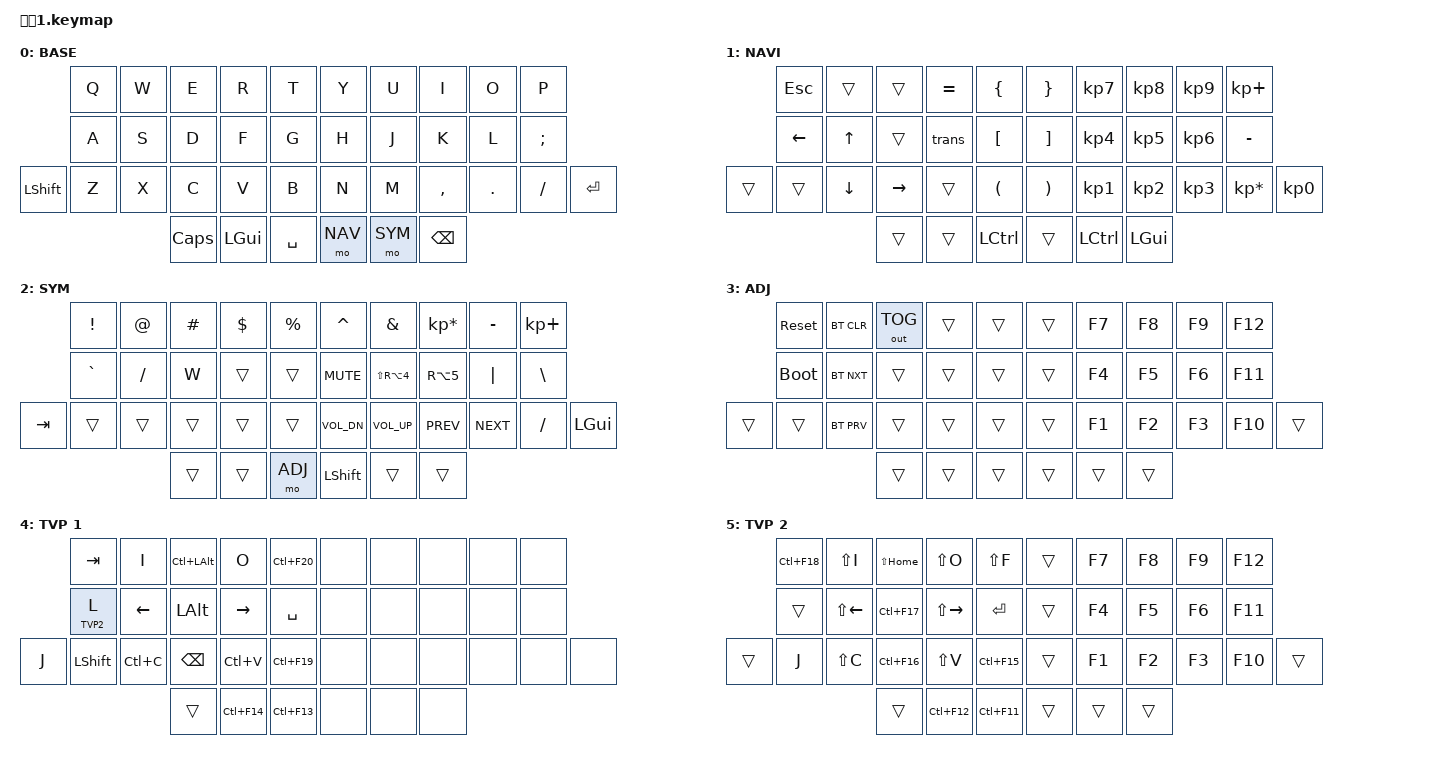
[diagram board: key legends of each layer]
//
//                                                        ▀▀▀▀▀     ▀▀▀▀▀          ▀▀█▀▀
//                                                        ▄▀▀▀▄  ▄  ▄▀▀▀▄  ▄  ▄▀▀▀▄  █  ▄▀▀▀▄
//                                                        █   █  █  █   █  █  █   █  █  █   █
//                                                         ▀▀▀   █   ▀▀▀   █   ▀▀▀   ▀   ▀▀▀
//                                                               █      ▄▄▄█▄▄▄    █   █  
//                                                               ▀      █  █  █     █▄█
//                                                             ▀▀▀▀▀    █  █  █      ▀
//                                                                      ▀  ▀  ▀
//
// ▄▄▄▄▄▄▄▄▄▄▄▄▄▄▄▄▄▄▄▄▄▄▄▄▄▄▄▄▄▄▄▄▄▄▄▄▄▄▄▄▄▄▄▄▄▄▄▄▄▄▄▄▄▄▄▄▄▄▄▄▄▄▄▄▄▄▄▄▄▄▄▄▄▄▄▄▄▄▄▄▄▄▄▄▄▄▄▄▄▄▄▄▄▄▄▄▄▄▄▄▄▄▄▄▄▄▄▄▄▄▄▄▄▄▄▄▄▄▄▄▄▄▄▄▄▄▄▄▄▄▄▄▄▄▄▄▄▄▄▄▄▄▄▄▄▄▄▄▄
       

#include <behaviors.dtsi>
#include <dt-bindings/zmk/keys.h>
#include <dt-bindings/zmk/bt.h>
#include <dt-bindings/zmk/outputs.h>

#define BASE 0
#define NAV  1
#define SYM  2
#define ADJ  3
#define TVP1 4
#define TVP2 5

&mt {
  quick-tap-ms = <100>;
  global-quick-tap;
  flavor = "tap-preferred";
  tapping-term-ms = <170>;
};

/ {
     combos {
            compatible = "zmk,combos";
            combo_esc {
                timeout-ms = <50>;
                key-positions = <0 1>;
                bindings = <&kp ESC>;
            };
            combo_tvp {
                timeout-ms = <100>;
                key-positions = <11 12 13>;
                bindings = <&tog TVP1>;
            };
    };

    macros {
        gif: gif {
            label = "giphy";
            compatible = "zmk,behavior-macro";
            #binding-cells = <0>;
            bindings
                = <&macro_press &kp LSHFT>
                , <&macro_tap &kp N2>
                , <&macro_release &kp LSHFT>
                , <&macro_tap &kp G &kp I &kp F>
                ;
        };
    };

        keymap {
                compatible = "zmk,keymap";
// ▄▄▄▄▄▄▄▄▄▄▄▄▄▄▄▄▄▄▄▄▄▄▄▄▄▄▄▄▄▄▄▄▄▄▄▄▄▄▄▄▄▄▄▄▄▄▄▄▄▄▄▄▄▄▄▄▄▄▄▄▄▄▄▄▄▄▄▄▄▄▄▄▄▄▄▄▄▄▄▄▄▄▄▄▄▄▄▄▄▄▄▄▄▄▄▄▄▄▄▄▄▄▄▄▄▄▄▄▄▄▄▄▄▄▄▄▄▄▄▄▄▄▄▄▄▄▄▄▄▄▄▄▄▄▄▄▄▄▄▄▄▄▄▄▄▄▄▄▄

                base_layer {
// ┏━━━━━━━━━━━━━━━━━━━━━━━━━━━━━━━━━━━━━━━┓
label= "BASE"                              ;
// ┗━━━━━━━━━━━━━━━━━━━━━━━━━━━━━━━━━━━━━━━┛
//             ┏━━━━━━━━━━━┳━━━━━━━━━━━┳━━━━━━━━━━━┳━━━━━━━━━━━┳━━━━━━━━━━━┓   ┏━━━━━━━━━━━┳━━━━━━━━━━━┳━━━━━━━━━━━┳━━━━━━━━━━━┳━━━━━━━━━━━┓
//             ┃     Q     ┃     W     ┃     E     ┃     R     ┃     T     ┃   ┃     J     ┃     L     ┃     U     ┃     Y     ┃     P     ┃
//             ┣━━━━━━━━━━━╋━━━━━━━━━━━╋━━━━━━━━━━━╋━━━━━━━━━━━╋━━━━━━━━━━━┫   ┣━━━━━━━━━━━╋━━━━━━━━━━━╋━━━━━━━━━━━╋━━━━━━━━━━━╋━━━━━━━━━━━┫
//             ┃     A     ┃     S     ┃     D     ┃     F     ┃     G     ┃   ┃     H     ┃     N     ┃     E     ┃     I     ┃     O     ┃
// ┏━━━━━━━━━━━╋━━━━━━━━━━━╋━━━━━━━━━━━╋━━━━━━━━━━━╋━━━━━━━━━━━╋━━━━━━━━━━━┫   ┣━━━━━━━━━━━╋━━━━━━━━━━━╋━━━━━━━━━━━╋━━━━━━━━━━━╋━━━━━━━━━━━╋━━━━━━━━━━━┓
// ┃   SHFT    ┃     Z     ┃     X     ┃     C     ┃     V     ┃     B     ┃   ┃     K     ┃     M     ┃     ,     ┃     .     ┃     /     ┃   BSPC    ┃
// ┗━━━━━━━━━━━┻━━━━━━━━━━━┻━━━━━━━━━━━╋━━━━━━━━━━━╋━━━━━━━━━━━╋━━━━━━━━━━━┫   ┣━━━━━━━━━━━╋━━━━━━━━━━━╋━━━━━━━━━━━╋━━━━━━━━━━━┻━━━━━━━━━━━┻━━━━━━━━━━━┛
//                                     ┃   CAPS    ┃    TAB    ┃    SPC    ┃   ┃   ENTER   ┃           ┃   BSPC    ┃
//                                     ┗━━━━━━━━━━━┻━━━━━━━━━━━┻━━━━━━━━━━━┛   ┗━━━━━━━━━━━┻━━━━━━━━━━━┻━━━━━━━━━━━┛
 bindings = <
// ╷           ╷           ╷           ╷           ╷           ╷           ╷   ╷           ╷           ╷           ╷           ╷           ╷           ╷

                &kp Q       &kp W       &kp E       &kp R       &kp T           &kp Y       &kp U       &kp I       &kp O       &kp P
                &kp A       &kp S       &kp D       &kp F       &kp G           &kp H       &kp J       &kp K       &kp L       &kp SEMI
    &kp LSHFT   &kp Z       &kp X       &kp C       &kp V       &kp B           &kp N       &kp M       &kp COMMA   &kp DOT     &kp SLASH    &kp ENTER
                                        &kp CAPS    &kp LGUI    &kp SPACE       &mo NAV     &mo SYM     &kp BSPC 
                        >;
                };

// ▄▄▄▄▄▄▄▄▄▄▄▄▄▄▄▄▄▄▄▄▄▄▄▄▄▄▄▄▄▄▄▄▄▄▄▄▄▄▄▄▄▄▄▄▄▄▄▄▄▄▄▄▄▄▄▄▄▄▄▄▄▄▄▄▄▄▄▄▄▄▄▄▄▄▄▄▄▄▄▄▄▄▄▄▄▄▄▄▄▄▄▄▄▄▄▄▄▄▄▄▄▄▄▄▄▄▄▄▄▄▄▄▄▄▄▄▄▄▄▄▄▄▄▄▄▄▄▄▄▄▄▄▄▄▄▄▄▄▄▄▄▄▄▄▄▄▄▄▄


                nav_layer {
// ┏━━━━━━━━━━━━━━━━━━━━━━━━━━━━━━━━━━━━━━━┓
label= "NAVI"                              ;
// ┗━━━━━━━━━━━━━━━━━━━━━━━━━━━━━━━━━━━━━━━┛
//             ┏━━━━━━━━━━━┳━━━━━━━━━━━┳━━━━━━━━━━━┳━━━━━━━━━━━┳━━━━━━━━━━━┓   ┏━━━━━━━━━━━┳━━━━━━━━━━━┳━━━━━━━━━━━┳━━━━━━━━━━━┳━━━━━━━━━━━┓
//             ┃           ┃           ┃     UP    ┃           ┃     {     ┃   ┃     }     ┃     7     ┃     8     ┃     9     ┃     +     ┃
//             ┣━━━━━━━━━━━╋━━━━━━━━━━━╋━━━━━━━━━━━╋━━━━━━━━━━━╋━━━━━━━━━━━┫   ┣━━━━━━━━━━━╋━━━━━━━━━━━╋━━━━━━━━━━━╋━━━━━━━━━━━╋━━━━━━━━━━━┫
//             ┃   SHIFT   ┃   LEFT    ┃    DOWN   ┃   RIGHT   ┃     [     ┃   ┃     ]     ┃     4     ┃     5     ┃     6     ┃     -     ┃
// ┏━━━━━━━━━━━╋━━━━━━━━━━━╋━━━━━━━━━━━╋━━━━━━━━━━━╋━━━━━━━━━━━╋━━━━━━━━━━━┫   ┣━━━━━━━━━━━╋━━━━━━━━━━━╋━━━━━━━━━━━╋━━━━━━━━━━━╋━━━━━━━━━━━╋━━━━━━━━━━━┓
// ┃           ┃           ┃   P UP    ┃  C LOCK   ┃  P DOWN   ┃     (     ┃   ┃     )     ┃     1     ┃     2     ┃     3     ┃     *     ┃           ┃
// ┗━━━━━━━━━━━┻━━━━━━━━━━━┻━━━━━━━━━━━╋━━━━━━━━━━━╋━━━━━━━━━━━╋━━━━━━━━━━━┫   ┣━━━━━━━━━━━╋━━━━━━━━━━━╋━━━━━━━━━━━╋━━━━━━━━━━━┻━━━━━━━━━━━┻━━━━━━━━━━━┛
//                                     ┃           ┃    TAB    ┃    SPC    ┃   ┃    DEL    ┃     0     ┃           ┃
//                                     ┗━━━━━━━━━━━┻━━━━━━━━━━━┻━━━━━━━━━━━┛   ┗━━━━━━━━━━━┻━━━━━━━━━━━┻━━━━━━━━━━━┛
 bindings = <
// ╷           ╷           ╷           ╷           ╷           ╷           ╷   ╷           ╷           ╷           ╷           ╷           ╷           ╷

                &kp ESC    &trans  &trans      &kp EQUAL   &kp LBRC        &kp RBRC    &kp KP_N7   &kp KP_N8   &kp KP_N9   &kp KP_PLUS
                &kp LEFT   &kp UP  &trans      &kp trans   &kp LBKT        &kp RBKT    &kp KP_N4   &kp KP_N5   &kp KP_N6   &kp MINUS
    &trans      &trans     &kp DOWN &kp RIGHT  &trans    &kp LPAR          &kp RPAR    &kp KP_N1   &kp KP_N2   &kp KP_N3   &kp KP_MULTIPLY &kp KP_N0     
                                &trans      &trans      &kp LCTRL          &trans      &kp LCTRL   &kp LGUI       
                        >;
                };

// ▄▄▄▄▄▄▄▄▄▄▄▄▄▄▄▄▄▄▄▄▄▄▄▄▄▄▄▄▄▄▄▄▄▄▄▄▄▄▄▄▄▄▄▄▄▄▄▄▄▄▄▄▄▄▄▄▄▄▄▄▄▄▄▄▄▄▄▄▄▄▄▄▄▄▄▄▄▄▄▄▄▄▄▄▄▄▄▄▄▄▄▄▄▄▄▄▄▄▄▄▄▄▄▄▄▄▄▄▄▄▄▄▄▄▄▄▄▄▄▄▄▄▄▄▄▄▄▄▄▄▄▄▄▄▄▄▄▄▄▄▄▄▄▄▄▄▄▄▄


                sim_layer {
// ┏━━━━━━━━━━━━━━━━━━━━━━━━━━━━━━━━━━━━━━━┓
label= "SYM"                               ;
// ┗━━━━━━━━━━━━━━━━━━━━━━━━━━━━━━━━━━━━━━━┛
//             ┏━━━━━━━━━━━┳━━━━━━━━━━━┳━━━━━━━━━━━┳━━━━━━━━━━━┳━━━━━━━━━━━┓   ┏━━━━━━━━━━━┳━━━━━━━━━━━┳━━━━━━━━━━━┳━━━━━━━━━━━┳━━━━━━━━━━━┓
//             ┃     !     ┃     @     ┃     #     ┃     $     ┃     %     ┃   ┃     ˆ     ┃     &     ┃     *     ┃     -     ┃     =     ┃
//             ┣━━━━━━━━━━━╋━━━━━━━━━━━╋━━━━━━━━━━━╋━━━━━━━━━━━╋━━━━━━━━━━━┫   ┣━━━━━━━━━━━╋━━━━━━━━━━━╋━━━━━━━━━━━╋━━━━━━━━━━━╋━━━━━━━━━━━┫
//             ┃     `     ┃     S     ┃     W     ┃    F      ┃    G      ┃   ┃   MUTE    ┃   YEN     ┃   EURO    ┃  POUND    ┃     \     ┃
// ┏━━━━━━━━━━━╋━━━━━━━━━━━╋━━━━━━━━━━━╋━━━━━━━━━━━╋━━━━━━━━━━━╋━━━━━━━━━━━┫   ┣━━━━━━━━━━━╋━━━━━━━━━━━╋━━━━━━━━━━━╋━━━━━━━━━━━╋━━━━━━━━━━━╋━━━━━━━━━━━┓
// ┃           ┃  Z        ┃  X        ┃     C     ┃     V     ┃           ┃   ┃   VOL-    ┃   VOL+    ┃   LAST    ┃   NEXT    ┃     \     ┃           ┃
// ┗━━━━━━━━━━━┻━━━━━━━━━━━┻━━━━━━━━━━━╋━━━━━━━━━━━╋━━━━━━━━━━━╋━━━━━━━━━━━┫   ┣━━━━━━━━━━━╋━━━━━━━━━━━╋━━━━━━━━━━━╋━━━━━━━━━━━┻━━━━━━━━━━━┻━━━━━━━━━━━┛
//                                     ┃           ┃    GIF    ┃    ADJ    ┃   ┃           ┃           ┃           ┃
//                                     ┗━━━━━━━━━━━┻━━━━━━━━━━━┻━━━━━━━━━━━┛   ┗━━━━━━━━━━━┻━━━━━━━━━━━┻━━━━━━━━━━━┛
 bindings = <
// ╷           ╷           ╷           ╷           ╷           ╷           ╷   ╷           ╷           ╷           ╷           ╷           ╷           ╷

                &kp EXCL    &kp AT      &kp HASH    &kp DLLR    &kp PRCNT       &kp CARET   &kp AMPS    &kp KP_MULTIPLY   &kp MINUS     &kp KP_PLUS       
                &kp GRAVE   &kp SLASH   &kp W       &trans      &trans        &kp C_MUTE  &kp LS(RA(N4)) &kp RA(N5)   &kp PIPE      &kp BSLH 
    &kp TAB     &trans      &trans      &trans      &trans      &trans          &kp C_VOL_DN &kp C_VOL_UP &kp C_PREV &kp  C_NEXT        &kp SLASH   &kp LGUI         
                                        &trans      &trans      &mo ADJ         &kp LSHFT       &trans    &trans      
                        >;
                };

// ▄▄▄▄▄▄▄▄▄▄▄▄▄▄▄▄▄▄▄▄▄▄▄▄▄▄▄▄▄▄▄▄▄▄▄▄▄▄▄▄▄▄▄▄▄▄▄▄▄▄▄▄▄▄▄▄▄▄▄▄▄▄▄▄▄▄▄▄▄▄▄▄▄▄▄▄▄▄▄▄▄▄▄▄▄▄▄▄▄▄▄▄▄▄▄▄▄▄▄▄▄▄▄▄▄▄▄▄▄▄▄▄▄▄▄▄▄▄▄▄▄▄▄▄▄▄▄▄▄▄▄▄▄▄▄▄▄▄▄▄▄▄▄▄▄▄▄▄▄


                adjust_layer {
// ┏━━━━━━━━━━━━━━━━━━━━━━━━━━━━━━━━━━━━━━━┓
label= "ADJ"                               ;
// ┗━━━━━━━━━━━━━━━━━━━━━━━━━━━━━━━━━━━━━━━┛
//             ┏━━━━━━━━━━━┳━━━━━━━━━━━┳━━━━━━━━━━━┳━━━━━━━━━━━┳━━━━━━━━━━━┓   ┏━━━━━━━━━━━┳━━━━━━━━━━━┳━━━━━━━━━━━┳━━━━━━━━━━━┳━━━━━━━━━━━┓
//             ┃   RESET   ┃ BT CLEAR  ┃  OUT TOG  ┃           ┃           ┃   ┃           ┃    F7     ┃    F8     ┃    F9     ┃    F12    ┃
//             ┣━━━━━━━━━━━╋━━━━━━━━━━━╋━━━━━━━━━━━╋━━━━━━━━━━━╋━━━━━━━━━━━┫   ┣━━━━━━━━━━━╋━━━━━━━━━━━╋━━━━━━━━━━━╋━━━━━━━━━━━╋━━━━━━━━━━━┫
//             ┃ BOOTLOAD  ┃ BT NEXT   ┃           ┃           ┃           ┃   ┃           ┃    F4     ┃    F5     ┃    F6     ┃    F11    ┃
// ┏━━━━━━━━━━━╋━━━━━━━━━━━╋━━━━━━━━━━━╋━━━━━━━━━━━╋━━━━━━━━━━━╋━━━━━━━━━━━┫   ┣━━━━━━━━━━━╋━━━━━━━━━━━╋━━━━━━━━━━━╋━━━━━━━━━━━╋━━━━━━━━━━━╋━━━━━━━━━━━┓
// ┃           ┃           ┃ BT PREV   ┃           ┃           ┃           ┃   ┃           ┃    F1     ┃    F2     ┃    F3     ┃    F10    ┃           ┃
// ┗━━━━━━━━━━━┻━━━━━━━━━━━┻━━━━━━━━━━━╋━━━━━━━━━━━╋━━━━━━━━━━━╋━━━━━━━━━━━┫   ┣━━━━━━━━━━━╋━━━━━━━━━━━╋━━━━━━━━━━━╋━━━━━━━━━━━┻━━━━━━━━━━━┻━━━━━━━━━━━┛
//                                     ┃           ┃           ┃           ┃   ┃           ┃           ┃           ┃
//                                     ┗━━━━━━━━━━━┻━━━━━━━━━━━┻━━━━━━━━━━━┛   ┗━━━━━━━━━━━┻━━━━━━━━━━━┻━━━━━━━━━━━┛
 bindings = <
// ╷           ╷           ╷           ╷           ╷           ╷           ╷   ╷           ╷           ╷           ╷           ╷           ╷           ╷

                &sys_reset  &bt BT_CLR &out OUT_TOG &trans      &trans          &trans      &kp F7      &kp F8      &kp F9      &kp F12
                &bootloader &bt BT_NXT  &trans      &trans      &trans          &trans      &kp F4      &kp F5      &kp F6      &kp F11  
    &trans      &trans      &bt BT_PRV  &trans      &trans      &trans          &trans      &kp F1      &kp F2      &kp F3      &kp F10     &trans         
                                        &trans      &trans      &trans          &trans      &trans      &trans      
                        >;
                };

// ▄▄▄▄▄▄▄▄▄▄▄▄▄▄▄▄▄▄▄▄▄▄▄▄▄▄▄▄▄▄▄▄▄▄▄▄▄▄▄▄▄▄▄▄▄▄▄▄▄▄▄▄▄▄▄▄▄▄▄▄▄▄▄▄▄▄▄▄▄▄▄▄▄▄▄▄▄▄▄▄▄▄▄▄▄▄▄▄▄▄▄▄▄▄▄▄▄▄▄▄▄▄▄▄▄▄▄▄▄▄▄▄▄▄▄▄▄▄▄▄▄▄▄▄▄▄▄▄▄▄▄▄▄▄▄▄▄▄▄▄▄▄▄▄▄▄▄▄▄


                tvp1_layer {
// ┏━━━━━━━━━━━━━━━━━━━━━━━━━━━━━━━━━━━━━━━┓
label= "TVP 1"                             ;
// ┗━━━━━━━━━━━━━━━━━━━━━━━━━━━━━━━━━━━━━━━┛
//             ┏━━━━━━━━━━━┳━━━━━━━━━━━┳━━━━━━━━━━━┳━━━━━━━━━━━┳━━━━━━━━━━━┓   ┏━━━━━━━━━━━┳━━━━━━━━━━━┳━━━━━━━━━━━┳━━━━━━━━━━━┳━━━━━━━━━━━┓
//             ┃ NEXT FILE ┃ MARK IN   ┃ ROTATE    ┃ MARK OUT  ┃ SHOW SNAP ┃   ┃           ┃           ┃           ┃           ┃           ┃
//             ┣━━━━━━━━━━━╋━━━━━━━━━━━╋━━━━━━━━━━━╋━━━━━━━━━━━╋━━━━━━━━━━━┫   ┣━━━━━━━━━━━╋━━━━━━━━━━━╋━━━━━━━━━━━╋━━━━━━━━━━━╋━━━━━━━━━━━┫
//             ┃ TVP II    ┃ LEFT      ┃ PAN       ┃ RIGHT     ┃ PLAY/FLIP ┃   ┃           ┃           ┃           ┃           ┃           ┃
// ┏━━━━━━━━━━━╋━━━━━━━━━━━╋━━━━━━━━━━━╋━━━━━━━━━━━╋━━━━━━━━━━━╋━━━━━━━━━━━┫   ┣━━━━━━━━━━━╋━━━━━━━━━━━╋━━━━━━━━━━━╋━━━━━━━━━━━╋━━━━━━━━━━━╋━━━━━━━━━━━┓
// ┃ FULLSCR   ┃ SHIFT     ┃ COPY      ┃ DELETE    ┃ PASTE     ┃ IMG MARK  ┃   ┃           ┃           ┃           ┃           ┃           ┃           ┃
// ┗━━━━━━━━━━━┻━━━━━━━━━━━┻━━━━━━━━━━━╋━━━━━━━━━━━╋━━━━━━━━━━━╋━━━━━━━━━━━┫   ┣━━━━━━━━━━━╋━━━━━━━━━━━╋━━━━━━━━━━━╋━━━━━━━━━━━┻━━━━━━━━━━━┻━━━━━━━━━━━┛
//                                     ┃           ┃ UNDO/SAVE ┃  SEL/MOV  ┃   ┃           ┃           ┃           ┃
//                                     ┗━━━━━━━━━━━┻━━━━━━━━━━━┻━━━━━━━━━━━┛   ┗━━━━━━━━━━━┻━━━━━━━━━━━┻━━━━━━━━━━━┛
 bindings = <
// ╷           ╷           ╷           ╷           ╷           ╷           ╷   ╷           ╷           ╷           ╷           ╷           ╷           ╷

                &kp TAB     &kp I       &kp LC(LALT) &kp O      &kp LC(F20)     &none       &none       &none       &none       &none
                &lt TVP2 L  &kp LEFT    &kp LALT    &kp RIGHT   &kp SPACE       &none       &none       &none       &none       &none
    &kp J       &kp LSHFT   &kp LC(C)   &kp BSPC    &kp LC(V)   &kp LC(F19)     &none       &none       &none       &none       &none       &none        
                                        &trans      &kp LC(F14) &kp LC(F13)     &none       &none       &none    
                        >;
                };

// ▄▄▄▄▄▄▄▄▄▄▄▄▄▄▄▄▄▄▄▄▄▄▄▄▄▄▄▄▄▄▄▄▄▄▄▄▄▄▄▄▄▄▄▄▄▄▄▄▄▄▄▄▄▄▄▄▄▄▄▄▄▄▄▄▄▄▄▄▄▄▄▄▄▄▄▄▄▄▄▄▄▄▄▄▄▄▄▄▄▄▄▄▄▄▄▄▄▄▄▄▄▄▄▄▄▄▄▄▄▄▄▄▄▄▄▄▄▄▄▄▄▄▄▄▄▄▄▄▄▄▄▄▄▄▄▄▄▄▄▄▄▄▄▄▄▄▄▄▄


                tvp2_layer {
// ┏━━━━━━━━━━━━━━━━━━━━━━━━━━━━━━━━━━━━━━━┓
label= "TVP 2"                             ;
// ┗━━━━━━━━━━━━━━━━━━━━━━━━━━━━━━━━━━━━━━━┛
//             ┏━━━━━━━━━━━┳━━━━━━━━━━━┳━━━━━━━━━━━┳━━━━━━━━━━━┳━━━━━━━━━━━┓   ┏━━━━━━━━━━━┳━━━━━━━━━━━┳━━━━━━━━━━━┳━━━━━━━━━━━┳━━━━━━━━━━━┓
//             ┃ SOLO      ┃ TOGGLE IN ┃ RESET ROT ┃ TOGGLE OUT┃ TAKE SNAP ┃   ┃           ┃           ┃           ┃           ┃           ┃
//             ┣━━━━━━━━━━━╋━━━━━━━━━━━╋━━━━━━━━━━━╋━━━━━━━━━━━╋━━━━━━━━━━━┫   ┣━━━━━━━━━━━╋━━━━━━━━━━━╋━━━━━━━━━━━╋━━━━━━━━━━━╋━━━━━━━━━━━┫
//             ┃ ---       ┃ LAST KEY  ┃ NEW KEY   ┃ NEXT KEY  ┃ ENTER     ┃   ┃           ┃           ┃           ┃           ┃           ┃
// ┏━━━━━━━━━━━╋━━━━━━━━━━━╋━━━━━━━━━━━╋━━━━━━━━━━━╋━━━━━━━━━━━╋━━━━━━━━━━━┫   ┣━━━━━━━━━━━╋━━━━━━━━━━━╋━━━━━━━━━━━╋━━━━━━━━━━━╋━━━━━━━━━━━╋━━━━━━━━━━━┓
// ┃           ┃ FULLSCR   ┃ CPY2BRUSH ┃ DEL HEAD  ┃ PSTinPLACE┃ BOOK MARK ┃   ┃           ┃           ┃           ┃           ┃           ┃           ┃
// ┗━━━━━━━━━━━┻━━━━━━━━━━━┻━━━━━━━━━━━╋━━━━━━━━━━━╋━━━━━━━━━━━╋━━━━━━━━━━━┫   ┣━━━━━━━━━━━╋━━━━━━━━━━━╋━━━━━━━━━━━╋━━━━━━━━━━━┻━━━━━━━━━━━┻━━━━━━━━━━━┛
//                                     ┃           ┃ REDO/SAV1 ┃TRANS/WARP ┃   ┃           ┃           ┃           ┃
//                                     ┗━━━━━━━━━━━┻━━━━━━━━━━━┻━━━━━━━━━━━┛   ┗━━━━━━━━━━━┻━━━━━━━━━━━┻━━━━━━━━━━━┛
 bindings = <
// ╷           ╷           ╷           ╷           ╷           ╷           ╷   ╷           ╷           ╷           ╷           ╷           ╷           ╷

                &kp LC(F18) &kp LS(I)  &kp LS(HOME) &kp LS(O)   &kp LS(F)       &trans      &kp F7      &kp F8      &kp F9      &kp F12
                &trans      &kp LS(LEFT) &kp LC(F17) &kp LS(RIGHT) &kp RET      &trans      &kp F4      &kp F5      &kp F6      &kp F11  
    &trans      &kp J       &kp LS(C)   &kp LC(F16) &kp LS(V)   &kp LC(F15)     &trans      &kp F1      &kp F2      &kp F3      &kp F10     &trans         
                                        &trans      &kp LC(F12) &kp LC(F11)     &trans      &trans      &trans      
                        >;
                };
        };
};
